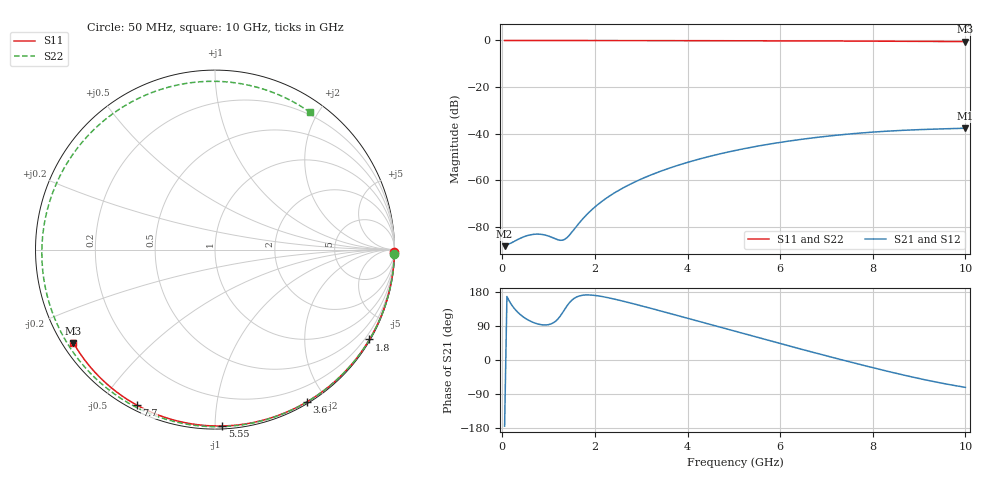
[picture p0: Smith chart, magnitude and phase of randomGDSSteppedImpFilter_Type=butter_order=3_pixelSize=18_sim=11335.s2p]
! freq	dB(S11)	phase(S11)	dB(S12)	phase(S12)
!  dB(S21)	phase(S21)	dB(S22)	phase(S22)
!S-par simulation data
#  GHz  S  DB  R 50
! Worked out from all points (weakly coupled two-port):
!   200 points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, 50 MHz to 10 GHz, reference 50 ohm
!   highest |S21| = -37.73 dB at 10 GHz (marker M1); lowest = -88.4 dB at 50 MHz (marker M2)
!   lowest |S11| = -0.5 dB at 10 GHz (marker M3), VSWR 35.12, Z = 1.55 - j15 ohm
!   |S11| at or under -10 dB: nowhere
!   |S22| runs from -0.6 to 0.0 dB; largest |S21 - S12| = 0
!   S11 on the Smith chart (normalised r, x): 50 MHz: open; 1.8 GHz: 0.03, -3.71; 3.6 GHz: 0.02, -1.77; 5.55 GHz: 0.02, -1.04; 7.7 GHz: 0.02, -0.61; 10 GHz: 0.03, -0.30
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0.05  -0.00 -0.9  -88.42 -174.6  -88.42 -174.6  -0.00 -1.5
0.8  -0.02 -13.6  -83.27 94.1  -83.27 94.1  -0.02 -24.6
1.6  -0.03 -26.9  -79.95 166.0  -79.95 166.0  -0.06 -48.6
1.75  -0.04 -29.4  -76.41 171.1  -76.41 171.1  -0.07 -53.0
1.8  -0.04 -30.2  -75.34 171.6  -75.34 171.6  -0.07 -54.4
2.1  -0.04 -35.1  -69.94 168.7  -69.94 168.7  -0.08 -63.1
2.45  -0.05 -40.7  -65.18 159.9  -65.18 159.9  -0.09 -73.1
2.9  -0.06 -47.9  -60.47 146.2  -60.47 146.2  -0.11 -85.7
3.4  -0.07 -55.8  -56.35 130.1  -56.35 130.1  -0.13 -99.4
3.6  -0.08 -58.9  -54.93 123.5  -54.93 123.5  -0.14 -104.8
4.3  -0.10 -69.5  -50.73 100.1  -50.73 100.1  -0.17 -123.5
5.05  -0.12 -80.5  -47.21 74.9  -47.21 74.9  -0.21 -143.4
5.55  -0.14 -87.6  -45.29 58.2  -45.29 58.2  -0.25 -156.8
6.15  -0.17 -96.0  -43.36 38.5  -43.36 38.5  -0.29 -173.2
6.7  -0.20 -103.5  -41.88 20.6  -41.88 20.6  -0.34 171.1
7.2  -0.23 -110.2  -40.77 4.6  -40.77 4.6  -0.39 156.1
7.7  -0.27 -116.8  -39.85 -11.1  -39.85 -11.1  -0.43 140.3
8.35  -0.32 -125.3  -38.95 -30.7  -38.95 -30.7  -0.49 118.3
8.8  -0.36 -131.1  -38.49 -43.5  -38.49 -43.5  -0.53 102.1
9.2  -0.40 -136.3  -38.19 -54.0  -38.19 -54.0  -0.57 87.0
9.6  -0.45 -141.4  -37.94 -63.7  -37.94 -63.7  -0.60 71.4
10  -0.49 -146.6  -37.73 -72.2  -37.73 -72.2  -0.63 55.5
